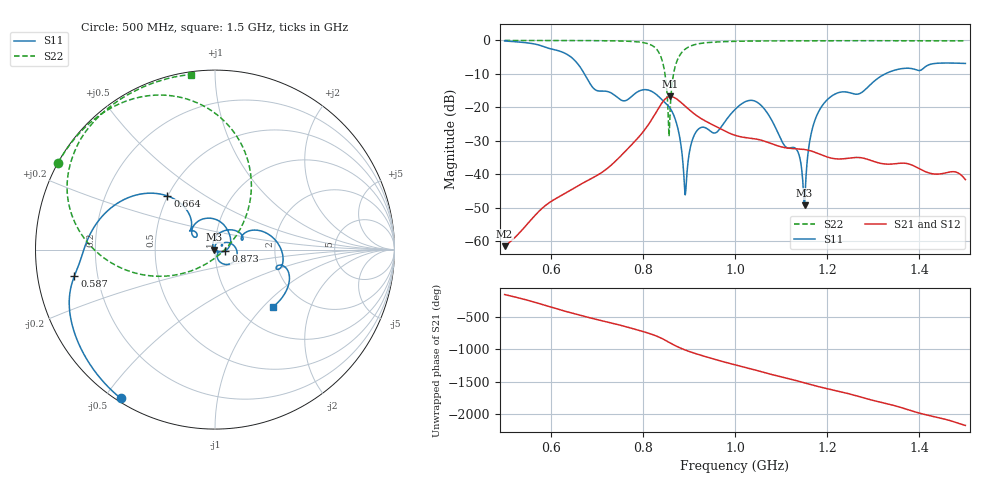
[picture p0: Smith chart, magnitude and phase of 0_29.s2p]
! TOUCHSTONE file generated by CST MICROWAVE STUDIO
! Date and time: Sat Oct 24 11:16:16 2020
! Project name: Scenario_1_Circular_Tissue_in_Line.cst
! Parameters = {L_HA=400; MT=2.54; Rad_Dielectric=30; Rad_Lower=7.3; Rad_Upper=30; a_HA=580; a_WG=246; b_HA=500; b_WG=121; c_HA=0; c_WG=187; d_feed=85; dx1=657.96; h_feed=15; h_lower=18; h_upper=40}
! Header version: 2018
! Port assignment regex: !\s*Touchstone port\s*([0-9]+)\s*=\s*(CST MWS port|CST DS port)\s*([0-9]+|Zmin|Zmax)\s*\(\"(.*)\"\)(\s*mode\s*([0-9]+))?.*
! Touchstone port assignment:
! Touchstone port 1 = CST MWS port 1 ("")
! Touchstone port 2 = CST MWS port 2 ("")
# GHz S DB R 50
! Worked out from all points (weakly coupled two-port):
!   1003 points, 500 MHz to 1.5 GHz, reference 50 ohm
!   highest |S21| = -16.75 dB at 860 MHz (marker M1); lowest = -61.5 dB at 500 MHz (marker M2)
!   lowest |S11| = -49.3 dB at 1.151 GHz (marker M3), VSWR 1.01, Z = 49.7 - j0.0998 ohm
!   |S11| at or under -10 dB: 673.2 MHz to 1.326 GHz (652.6 MHz wide, 65.3 % of centre)
!   |S22| runs from -28.6 to 0.0 dB; largest |S21 - S12| = 7e-06
!   S11 on the Smith chart (normalised r, x): 500 MHz: 0.01, -0.55; 587 MHz: 0.11, -0.09; 664 MHz: 0.50, +0.35; 873 MHz: 1.12, -0.01; 1.5 GHz: 1.42, -1.14
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0.5  -0.16 -122.3  -61.48 -145.2  -61.48 -145.2  -0.01 151.1
0.587  -1.97 -169.4  -49.51 47.2  -49.51 47.2  -0.02 145.1
0.664  -7.97 131.6  -43.07 -107.7  -43.07 -107.7  -0.04 138.6
0.667  -8.59 129.5  -42.84 -113.5  -42.84 -113.5  -0.04 138.3
0.699  -14.91 137.6  -40.46 -172.3  -40.46 -172.3  -0.07 134.9
0.78  -16.22 146.1  -30.55 40.7  -30.55 40.7  -0.33 120.3
0.834  -16.72 69.9  -20.28 -84.4  -20.28 -84.4  -3.42 81.9
0.846  -18.29 51.1  -17.86 -126.2  -17.86 -126.2  -8.38 58.0
0.855  -19.52 34.9  -16.88 -161.8  -16.88 -161.8  -22.23 15.9
0.86  -20.44 24.2  -16.75 178.2  -16.75 178.2  -18.86 -127.4
0.873  -24.72 -6.2  -17.46 129.8  -17.46 129.8  -6.54 -164.2
0.893  -45.20 55.7  -19.77 68.5  -19.77 68.5  -2.48 173.3
0.916  -27.23 64.3  -22.39 12.0  -22.39 12.0  -1.14 159.6
0.959  -27.53 32.9  -25.74 -79.9  -25.74 -79.9  -0.47 146.9
1  -20.64 22.5  -28.35 -158.2  -28.35 -158.2  -0.27 140.2
1.06  -19.88 -54.6  -29.93 87.9  -29.93 87.9  -0.16 133.4
1.135  -32.87 -40.2  -32.39 -48.7  -32.39 -48.7  -0.11 126.7
1.151  -49.25 -163.1  -32.60 -79.9  -32.60 -79.9  -0.10 125.4
1.167  -26.85 102.3  -33.11 -111.7  -33.11 -111.7  -0.10 124.2
1.207  -16.90 50.5  -35.10 177.8  -35.10 177.8  -0.09 121.1
1.334  -9.49 10.2  -36.98 -52.3  -36.98 -52.3  -0.08 111.4
1.5  -6.87 -44.7  -41.58 -22.9  -41.58 -22.9  -0.14 97.9
